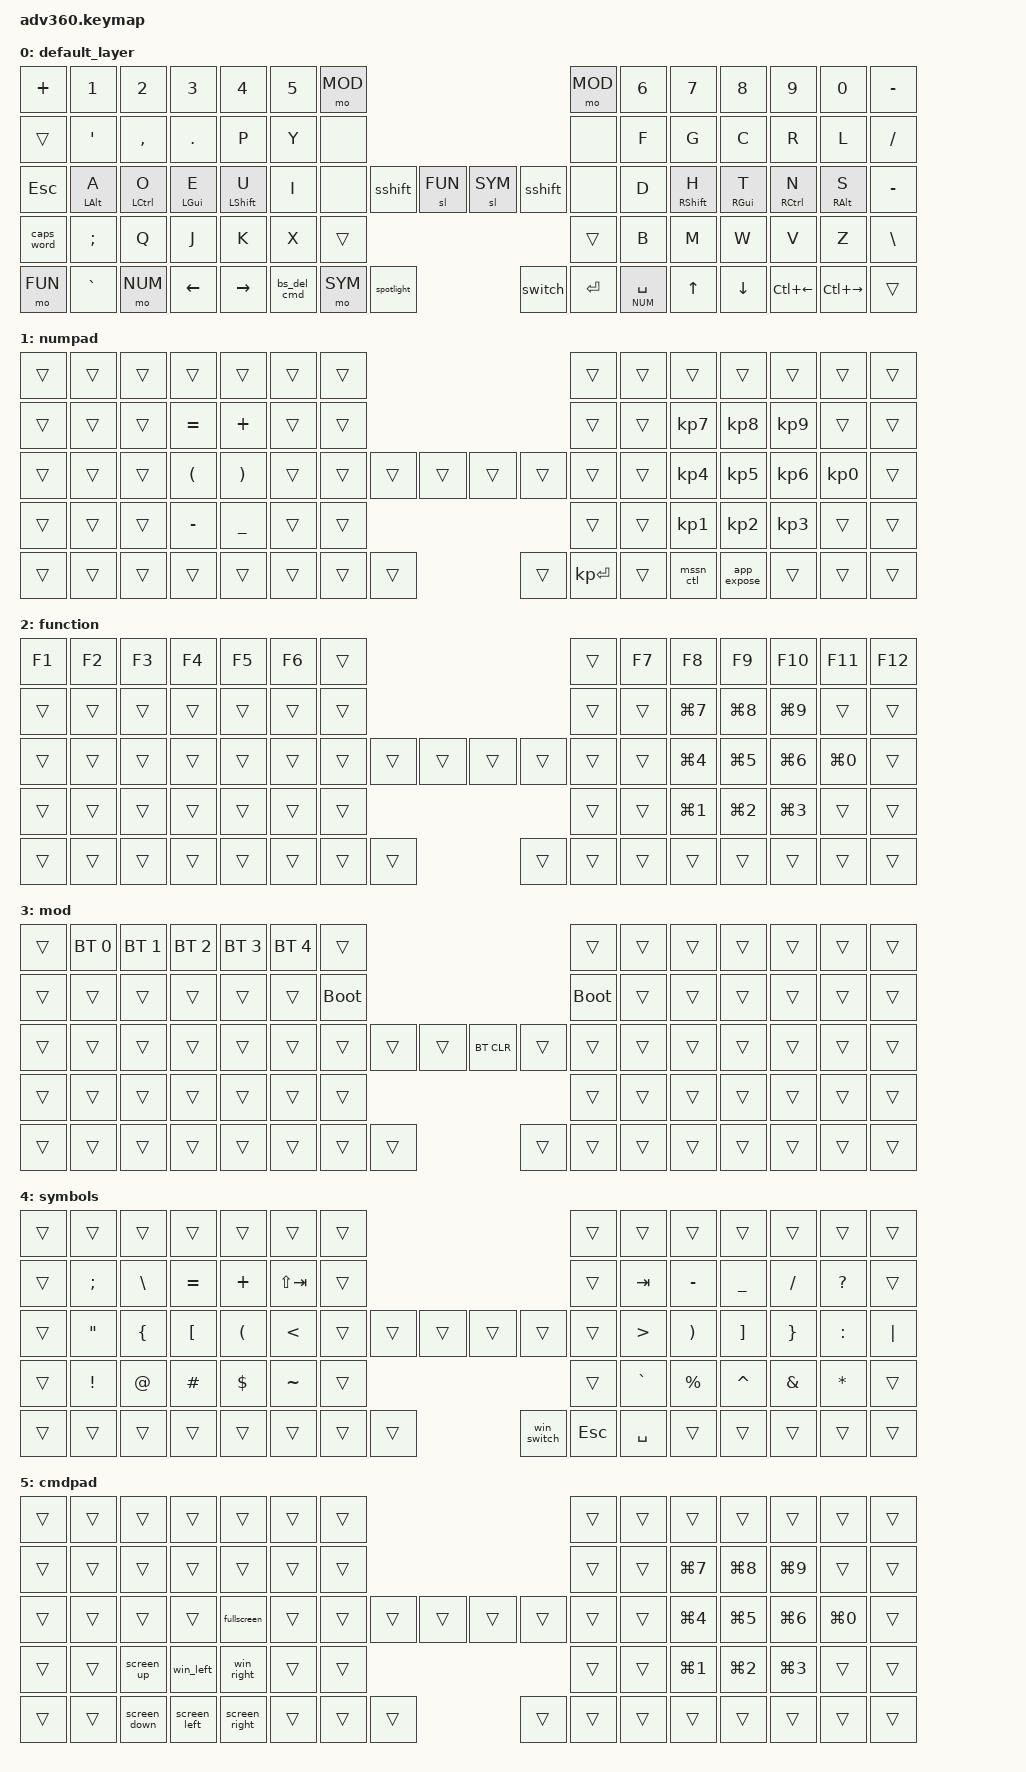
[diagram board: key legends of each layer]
#include <behaviors.dtsi>
#include <dt-bindings/zmk/keys.h>
#include <dt-bindings/zmk/bt.h>
#include <dt-bindings/zmk/rgb.h>
#include <dt-bindings/zmk/backlight.h>
#include "./zmk-nodefree-config/helper.h"

// make it simpler to make keys transparent
#define ______ &trans
#define xxxxxx &none

// layer shortcuts
#define DEF 0
#define NUM 1
#define FUN 2
#define MOD 3
#define SYM 4
#define CMD 5

// todo: translate these and make sure they're correct,
#define KEYS_L 14 15 16 17 18 19 28 29 30 31 32 33 46 47 48 49 50
#define KEYS_R 22 23 24 25 26 27 40 41 42 43 44 45 54 55 56 57 58
#define THUMBS 35 36 37 38 52 53 65 66 67 68 69 70

// todo: figure out a way to avoid o-space triggering command space
// cause it's regularly turning my keyboard out of dvorak.
// todo: figure out why 'ing' is sometimes not getting typed

// left handed home-row modifiers
ZMK_BEHAVIOR(hrml, hold_tap,
    // hold if another key is pressed and released within the tapping term or if tapping-term-ms expires
    flavor="balanced";
    // how long to hold until the key's considered "held"
    tapping-term-ms = <280>;
    // if a key is double-tapped within this much time, consider it held as the tapping key (i think?)
    quick-tap-ms = <175>;
    // resolve as tap when it's pressed within this much time after another key.
    // basically prevents using home row keys as mod keys when typing quickly which
    // is almost always desired. shift _might_ be an issue for this if i get fast enough
    require-prior-idle-ms = <150>;
    // these are parameterized bindings, so you use this like &hmrl LSHIFT U
    // and then left shift and u are bound to the hold and tap behaviors respectively
    bindings = <&kp>, <&kp>;
    // if any key _not_ in this list is pressed before tapping-term-ms expires
    // it will produce a tap. this means it's impossible to trigger command-a using
    // the command key under 'e', though you _can_ hold both 'a' and 'e' to trigger command+option
    hold-trigger-key-positions = <KEYS_R THUMBS>;
    // check whether a key is in `hold-trigger-key-positions` on release of that key.
    // this enables holding down two mod keys on the same side of the keyboard
    // since the second pressed mod key won't be checked until it's released
    hold-trigger-on-release;
)

// right handed home-row modifiers
ZMK_BEHAVIOR(hrmr, hold_tap,
    flavor="balanced";
    tapping-term-ms = <280>;
    quick-tap-ms = <175>;
    require-prior-idle-ms = <150>;
    bindings = <&kp>, <&kp>;
    hold-trigger-key-positions = <KEYS_L THUMBS>;
    hold-trigger-on-release;
)

// window placement
ZMK_BEHAVIOR(win_right, macro,
    wait-ms = <100>;
    tap-ms= <5>;
    bindings = <&kp LG(LA(LC(RIGHT)))>;
)
ZMK_BEHAVIOR(win_left, macro,
    wait-ms = <100>;
    tap-ms= <5>;
    bindings = <&kp LG(LA(LC(LEFT)))>;
)
ZMK_BEHAVIOR(screen_right, macro,
    wait-ms = <100>;
    tap-ms= <5>;
    bindings = <&kp LG(LA(RIGHT))>;
)

ZMK_BEHAVIOR(screen_left, macro,
    wait-ms = <100>;
    tap-ms= <5>;
    bindings = <&kp LG(LA(LEFT))>;
)

ZMK_BEHAVIOR(screen_up, macro,
    wait-ms = <100>;
    tap-ms= <5>;
    bindings = <&kp LG(LA(UP))>;
)

ZMK_BEHAVIOR(screen_down, macro,
    wait-ms = <100>;
    tap-ms= <5>;
    bindings = <&kp LG(LA(DOWN))>;
)

ZMK_BEHAVIOR(mssn_ctl, macro,
    wait-ms = <100>;
    tap-ms= <5>;
    bindings = <&kp LC(UP)>;
)

ZMK_BEHAVIOR(app_expose, macro,
    wait-ms = <100>;
    tap-ms= <5>;
    bindings = <&kp LC(DOWN)>;
)

ZMK_BEHAVIOR(fullscreen, macro,
    wait-ms = <100>;
    tap-ms= <5>;
    bindings = <&kp LG(LA(ENTER))>;
)

// hotswap program
ZMK_BEHAVIOR(switch, macro,
    wait-ms = <100>;
    tap-ms= <5>;
    bindings = <&kp LG(TAB)>;
)

// spotlight search
ZMK_BEHAVIOR(spotlight, macro,
    wait-ms = <100>;
    tap-ms= <5>;
    bindings = <&kp LG(SPACE)>;
)

// cycle windows, same program
ZMK_BEHAVIOR(win_switch, macro,
    wait-ms = <100>;
    tap-ms= <5>;
    bindings = <&kp LG(TILDE)>;
)

// tap: sticky shift (next press is shifted) | double tap: capsword (letters shifted until space or punctuation)
ZMK_BEHAVIOR(sshift, tap_dance,
    tapping-term-ms = <200>;
    bindings = <&sk LSHFT>, <&caps_word>;
)

// tap: backspace | shift + tap: delete | hold: cmd layer
ZMK_BEHAVIOR(bs_del_cmd, mod_morph,
    bindings = <&lt CMD BSPC>, <&kp DEL>;
    mods = <(MOD_LSFT|MOD_RSFT)>;
)

ZMK_LAYER(default_layer,
     /* ╭─────────────┬─────────────┬─────────────┬─────────────┬─────────────┬─────────────┬─────────────╮                                                          ╭─────────────┬─────────────┬─────────────┬─────────────┬─────────────┬─────────────┬─────────────╮ */
           &kp PLUS       &kp N1        &kp N2        &kp N3         &kp N4        &kp N5       &mo MOD                                                                   &mo MOD       &kp N6        &kp N7        &kp N8        &kp N9         &kp N0      &kp MINUS
     /* ├─────────────┼─────────────┼─────────────┼─────────────┼─────────────┼─────────────┼─────────────┤                                                          ├─────────────┼─────────────┼─────────────┼─────────────┼─────────────┼─────────────┼─────────────┤ */
            ______        &kp SQT      &kp COMMA      &kp DOT        &kp P         &kp Y        xxxxxx                                                                   xxxxxx        &kp F         &kp G         &kp C         &kp R          &kp L       &kp FSLH
     /* ├─────────────┼─────────────┼─────────────┼─────────────┼─────────────┼─────────────┼─────────────┤ ╭────────────┬─────────────┬─────────────┬─────────────╮ ├─────────────┼─────────────┼─────────────┼─────────────┼─────────────┼─────────────┼─────────────┤ */
           &kp ESC     &hrml LALT A  &hrml LCTRL O &hrml LGUI E  &hrml LSHIFT U    &kp I        xxxxxx          &sshift      &sl FUN       &sl SYM       &sshift         xxxxxx        &kp D      &hrmr RSHIFT H &hrmr RGUI T &hrmr RCTRL N  &hrmr RALT S   &kp MINUS
     /* ├─────────────┼─────────────┼─────────────┼─────────────┼─────────────┼─────────────┼─────────────╯ ╰────────────┼─────────────┼─────────────┼─────────────╯ ╰─────────────┼─────────────┼─────────────┼─────────────┼─────────────┼─────────────┼─────────────┤ */
          &caps_word     &kp SEMI        &kp Q         &kp J         &kp K         &kp X                                     ______        ______                                      &kp B         &kp M         &kp W         &kp V          &kp Z       &kp BSLH
     /* ├─────────────┼─────────────┼─────────────┼─────────────┼─────────────┼─────────────╯ ╭──────────────────────────┼─────────────┼─────────────┼───────────────────────────╮ ╰─────────────┼─────────────┼─────────────┼─────────────┼─────────────┼─────────────┤ */
           &mo FUN       &kp GRAVE      &mo NUM      &kp LEFT       &kp RIGHT                   &bs_del_cmd     &mo SYM     &spotlight     &switch      &kp ENTER   &lt NUM SPACE                    &kp UP        &kp DOWN    &kp LC(LEFT) &kp LC(RIGHT)    ______
     /* ╰─────────────┴─────────────┴─────────────┴─────────────┴─────────────╯               ╰─────────────┴────────────┴─────────────┴─────────────┴─────────────┴─────────────╯               ╰─────────────┴─────────────┴─────────────┴─────────────┴─────────────╯ */
)

ZMK_LAYER(numpad,
     /* ╭─────────────┬─────────────┬─────────────┬─────────────┬─────────────┬─────────────┬─────────────╮                                                          ╭─────────────┬─────────────┬─────────────┬─────────────┬─────────────┬─────────────┬─────────────╮ */
             ______        ______        ______       ______        ______        ______         ______                                                                  ______        ______        ______        ______        ______         ______        ______
     /* ├─────────────┼─────────────┼─────────────┼─────────────┼─────────────┼─────────────┼─────────────┤                                                          ├─────────────┼─────────────┼─────────────┼─────────────┼─────────────┼─────────────┼─────────────┤ */
             ______        ______        ______      &kp EQUAL      &kp PLUS      ______         ______                                                                  ______        ______       &kp KP_N7     &kp KP_N8    &kp KP_N9        ______        ______
     /* ├─────────────┼─────────────┼─────────────┼─────────────┼─────────────┼─────────────┼─────────────┤ ╭────────────┬─────────────┬─────────────┬─────────────╮ ├─────────────┼─────────────┼─────────────┼─────────────┼─────────────┼─────────────┼─────────────┤ */
             ______        ______        ______       &kp LPAR      &kp RPAR      ______         ______         ______       ______         ______        ______         ______        ______       &kp KP_N4     &kp KP_N5    &kp KP_N6     &kp KP_N0        ______
     /* ├─────────────┼─────────────┼─────────────┼─────────────┼─────────────┼─────────────┼─────────────╯ ╰────────────┼─────────────┼─────────────┼─────────────╯ ╰─────────────┼─────────────┼─────────────┼─────────────┼─────────────┼─────────────┼─────────────┤ */
             ______        ______        ______      &kp MINUS      &kp UNDER     ______                                     ______         ______                                     ______       &kp KP_N1     &kp KP_N2    &kp KP_N3        ______        ______
     /* ├─────────────┼─────────────┼─────────────┼─────────────┼─────────────┼─────────────╯ ╭──────────────────────────┼─────────────┼─────────────┼───────────────────────────╮ ╰─────────────┼─────────────┼─────────────┼─────────────┼─────────────┼─────────────┤ */
             ______        ______        ______       ______        ______                        ______        ______       ______         ______    &kp KP_ENTER      ______                      &mssn_ctl    &app_expose     ______         ______        ______
     /* ╰─────────────┴─────────────┴─────────────┴─────────────┴─────────────╯               ╰─────────────┴────────────┴─────────────┴─────────────┴─────────────┴─────────────╯               ╰─────────────┴─────────────┴─────────────┴─────────────┴─────────────╯ */
)

ZMK_LAYER(function,
     /* ╭─────────────┬─────────────┬─────────────┬─────────────┬─────────────┬─────────────┬─────────────╮                                                          ╭─────────────┬─────────────┬─────────────┬─────────────┬─────────────┬─────────────┬─────────────╮ */
             &kp F1        &kp F2       &kp F3        &kp F4         &kp F5       &kp F6         ______                                                                  ______        &kp F7        &kp F8        &kp F9        &kp F10       &kp F11       &kp F12
     /* ├─────────────┼─────────────┼─────────────┼─────────────┼─────────────┼─────────────┼─────────────┤                                                          ├─────────────┼─────────────┼─────────────┼─────────────┼─────────────┼─────────────┼─────────────┤ */
            ______        ______        ______        ______        ______         ______        ______                                                                  ______        ______       &kp LG(N7)    &kp LG(N8)    &kp LG(N9)      ______        ______
     /* ├─────────────┼─────────────┼─────────────┼─────────────┼─────────────┼─────────────┼─────────────┤ ╭────────────┬─────────────┬─────────────┬─────────────╮ ├─────────────┼─────────────┼─────────────┼─────────────┼─────────────┼─────────────┼─────────────┤ */
            ______        ______        ______        ______        ______         ______        ______         ______       ______        ______         ______         ______        ______       &kp LG(N4)    &kp LG(N5)    &kp LG(N6)    &kp LG(N0)      ______
     /* ├─────────────┼─────────────┼─────────────┼─────────────┼─────────────┼─────────────┼─────────────╯ ╰────────────┼─────────────┼─────────────┼─────────────╯ ╰─────────────┼─────────────┼─────────────┼─────────────┼─────────────┼─────────────┼─────────────┤ */
            ______        ______        ______        ______        ______         ______                                    ______        ______                                      ______       &kp LG(N1)    &kp LG(N2)    &kp LG(N3)      ______        ______
     /* ├─────────────┼─────────────┼─────────────┼─────────────┼─────────────┼─────────────╯ ╭──────────────────────────┼─────────────┼─────────────┼───────────────────────────╮ ╰─────────────┼─────────────┼─────────────┼─────────────┼─────────────┼─────────────┤ */
            ______        ______        ______        ______        ______                       ______         ______       ______        ______         ______        ______                        ______        ______         ______       ______        ______
     /* ╰─────────────┴─────────────┴─────────────┴─────────────┴─────────────╯               ╰─────────────┴────────────┴─────────────┴─────────────┴─────────────┴─────────────╯               ╰─────────────┴─────────────┴─────────────┴─────────────┴─────────────╯ */
)

ZMK_LAYER(mod,
     /* ╭─────────────┬─────────────┬─────────────┬─────────────┬─────────────┬─────────────┬─────────────╮                                                          ╭─────────────┬─────────────┬─────────────┬─────────────┬─────────────┬─────────────┬─────────────╮ */
             ______     &bt BT_SEL 0  &bt BT_SEL 1  &bt BT_SEL 2  &bt BT_SEL 3  &bt BT_SEL 4     ______                                                                   ______        ______        ______        ______        ______         ______       ______
     /* ├─────────────┼─────────────┼─────────────┼─────────────┼─────────────┼─────────────┼─────────────┤                                                          ├─────────────┼─────────────┼─────────────┼─────────────┼─────────────┼─────────────┼─────────────┤ */
             ______        ______        ______       ______        ______         ______     &bootloader                                                              &bootloader      ______        ______        ______        ______         ______       ______
     /* ├─────────────┼─────────────┼─────────────┼─────────────┼─────────────┼─────────────┼─────────────┤ ╭────────────┬─────────────┬─────────────┬─────────────╮ ├─────────────┼─────────────┼─────────────┼─────────────┼─────────────┼─────────────┼─────────────┤ */
             ______        ______        ______       ______        ______         ______        ______         ______        ______      &bt BT_CLR     ______           ______        ______        ______        ______        ______         ______       ______
     /* ├─────────────┼─────────────┼─────────────┼─────────────┼─────────────┼─────────────┼─────────────╯ ╰────────────┼─────────────┼─────────────┼─────────────╯ ╰─────────────┼─────────────┼─────────────┼─────────────┼─────────────┼─────────────┼─────────────┤ */
             ______        ______        ______       ______        ______         ______                                     ______        ______                                      ______        ______        ______        ______         ______       ______
     /* ├─────────────┼─────────────┼─────────────┼─────────────┼─────────────┼─────────────╯ ╭──────────────────────────┼─────────────┼─────────────┼───────────────────────────╮ ╰─────────────┼─────────────┼─────────────┼─────────────┼─────────────┼─────────────┤ */
             ______        ______        ______       ______        ______                        ______        ______        ______        ______       ______         ______                       ______        ______        ______         ______       ______
     /* ╰─────────────┴─────────────┴─────────────┴─────────────┴─────────────╯               ╰─────────────┴────────────┴─────────────┴─────────────┴─────────────┴─────────────╯               ╰─────────────┴─────────────┴─────────────┴─────────────┴─────────────╯ */
)
ZMK_LAYER(symbols,
     /* ╭─────────────┬─────────────┬─────────────┬─────────────┬─────────────┬─────────────┬─────────────╮                                                          ╭─────────────┬─────────────┬─────────────┬─────────────┬─────────────┬─────────────┬─────────────╮ */
             ______        ______        ______       ______        ______        ______         ______                                                                  ______        ______        ______        ______        ______         ______        ______
     /* ├─────────────┼─────────────┼─────────────┼─────────────┼─────────────┼─────────────┼─────────────┤                                                          ├─────────────┼─────────────┼─────────────┼─────────────┼─────────────┼─────────────┼─────────────┤ */
             ______       &kp SEMI      &kp BSLH     &kp EQUAL     &kp PLUS     &kp LS(TAB)      ______                                                                  ______        &kp TAB       &kp MINUS     &kp UNDER     &kp FSLH     &kp QMARK       ______
     /* ├─────────────┼─────────────┼─────────────┼─────────────┼─────────────┼─────────────┼─────────────┤ ╭────────────┬─────────────┬─────────────┬─────────────╮ ├─────────────┼─────────────┼─────────────┼─────────────┼─────────────┼─────────────┼─────────────┤ */
             ______       &kp DQT       &kp LBRC     &kp LBKT      &kp LPAR       &kp LT         ______         ______       ______        ______         ______         ______        &kp GT        &kp RPAR      &kp RBKT      &kp RBRC      &kp COLN      &kp PIPE
     /* ├─────────────┼─────────────┼─────────────┼─────────────┼─────────────┼─────────────┼─────────────╯ ╰────────────┼─────────────┼─────────────┼─────────────╯ ╰─────────────┼─────────────┼─────────────┼─────────────┼─────────────┼─────────────┼─────────────┤ */
             ______       &kp EXCL    &kp AT_SIGN    &kp POUND    &kp DOLLAR     &kp TILDE                                   ______        ______                                     &kp GRAVE      &kp PRCNT     &kp CARET     &kp AMPS      &kp STAR       ______
     /* ├─────────────┼─────────────┼─────────────┼─────────────┼─────────────┼─────────────╯ ╭──────────────────────────┼─────────────┼─────────────┼───────────────────────────╮ ╰─────────────┼─────────────┼─────────────┼─────────────┼─────────────┼─────────────┤ */
             ______        ______        ______       ______        ______                        ______        ______       ______      &win_switch   &kp ESCAPE     &kp SPACE                       ______        ______        ______        ______        ______
     /* ╰─────────────┴─────────────┴─────────────┴─────────────┴─────────────╯               ╰─────────────┴────────────┴─────────────┴─────────────┴─────────────┴─────────────╯               ╰─────────────┴─────────────┴─────────────┴─────────────┴─────────────╯ */

)

ZMK_LAYER(cmdpad,
     /* ╭─────────────┬─────────────┬─────────────┬─────────────┬─────────────┬─────────────┬─────────────╮                                                          ╭─────────────┬─────────────┬─────────────┬─────────────┬─────────────┬─────────────┬─────────────╮ */
             ______        ______        ______       ______        ______        ______         ______                                                                  ______        ______        ______        ______        ______         ______        ______
     /* ├─────────────┼─────────────┼─────────────┼─────────────┼─────────────┼─────────────┼─────────────┤                                                          ├─────────────┼─────────────┼─────────────┼─────────────┼─────────────┼─────────────┼─────────────┤ */
             ______        ______        ______       ______        ______        ______         ______                                                                  ______        ______       &kp LG(N7)    &kp LG(N8)    &kp LG(N9)      ______        ______
     /* ├─────────────┼─────────────┼─────────────┼─────────────┼─────────────┼─────────────┼─────────────┤ ╭────────────┬─────────────┬─────────────┬─────────────╮ ├─────────────┼─────────────┼─────────────┼─────────────┼─────────────┼─────────────┼─────────────┤ */
             ______        ______        ______       ______      &fullscreen     ______         ______         ______       ______         ______        ______         ______        ______       &kp LG(N4)    &kp LG(N5)    &kp LG(N6)    &kp LG(N0)      ______
     /* ├─────────────┼─────────────┼─────────────┼─────────────┼─────────────┼─────────────┼─────────────╯ ╰────────────┼─────────────┼─────────────┼─────────────╯ ╰─────────────┼─────────────┼─────────────┼─────────────┼─────────────┼─────────────┼─────────────┤ */
             ______        ______      &screen_up    &win_left     &win_right     ______                                     ______         ______                                     ______       &kp LG(N1)    &kp LG(N2)    &kp LG(N3)      ______        ______
     /* ├─────────────┼─────────────┼─────────────┼─────────────┼─────────────┼─────────────╯ ╭──────────────────────────┼─────────────┼─────────────┼───────────────────────────╮ ╰─────────────┼─────────────┼─────────────┼─────────────┼─────────────┼─────────────┤ */
             ______        ______     &screen_down  &screen_left &screen_right                    ______        ______       ______         ______        ______        ______                       ______        ______         ______        ______        ______
     /* ╰─────────────┴─────────────┴─────────────┴─────────────┴─────────────╯               ╰─────────────┴────────────┴─────────────┴─────────────┴─────────────┴─────────────╯               ╰─────────────┴─────────────┴─────────────┴─────────────┴─────────────╯ */
)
